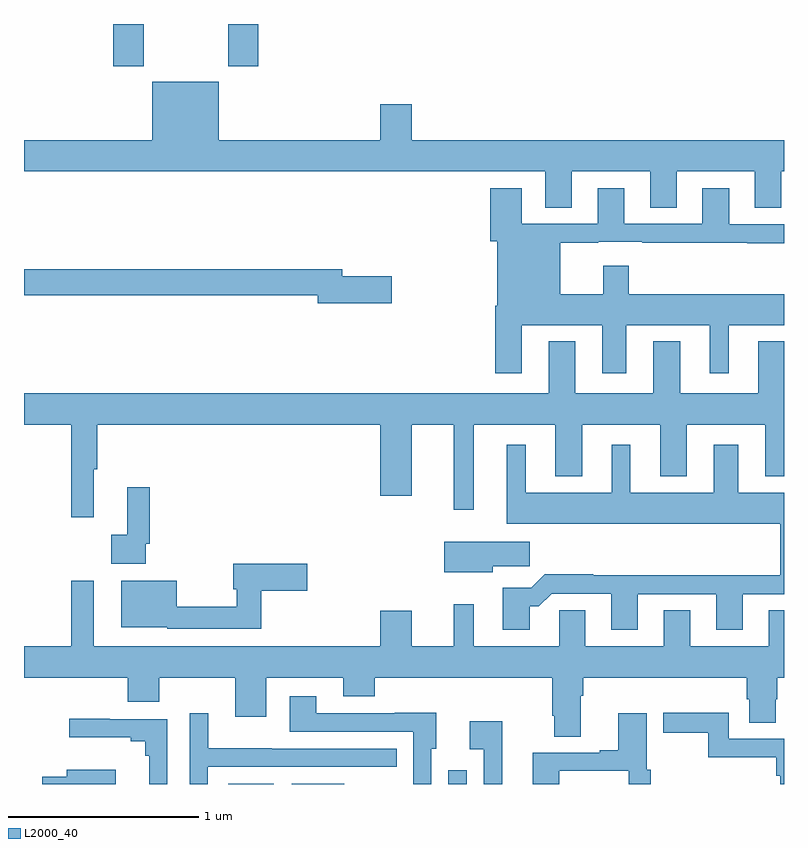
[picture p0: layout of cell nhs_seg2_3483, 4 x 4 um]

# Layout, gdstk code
import gdstk
lib = gdstk.Library(unit=1e-6, precision=1e-09)
def R(c, l, rs):  # rectangles x0, y0, x1, y1
    for r in rs: c.add(gdstk.rectangle(r[:2], r[2:], *l))
def P(c, l, *ps):  # polygons
    for p in ps: c.add(gdstk.Polygon(p, *l))
L2000_40 = (2000, 40)

nhs_seg2_3483 = lib.new_cell('nhs_seg2_3483')
R(nhs_seg2_3483, L2000_40, [(296.075,589.8,296.314,589.801), (296.408,589.8,296.686,589.801), (297.234,589.8,297.33,589.873), (295.469,593.577,295.629,593.8), (296.074,593.577,296.234,593.8)])
P(nhs_seg2_3483, L2000_40, [(297.883,593.024),(298.295,593.024),(298.295,592.834),(298.435,592.834),(298.435,593.024),(298.847,593.024),(298.847,592.834),(298.986,592.834),(298.986,593.024),(299,593.024),(299,593.188),(297.04,593.188),(297.04,593.377),(296.876,593.377),(296.876,593.188),(296.026,593.188),(296.026,593.497),(295.676,593.497),(295.676,593.188),(295,593.188),(295,593.024),(297.743,593.024),(297.743,592.834),(297.883,592.834)],
  [(297.619,592.214),(298.043,592.214),(298.043,591.963),(298.171,591.963),(298.171,592.214),(298.61,592.214),(298.61,591.963),(298.708,591.963),(298.708,592.214),(299,592.214),(299,592.378),(298.184,592.378),(298.184,592.528),(298.049,592.528),(298.049,592.378),(297.823,592.378),(297.823,592.648),(298.023,592.648),(298.023,592.653),(298.255,592.653),(298.255,592.648),(298.807,592.648),(298.807,592.646),(299,592.646),(299,592.746),(298.711,592.746),(298.711,592.936),(298.571,592.936),(298.571,592.749),(298.159,592.749),(298.159,592.936),(298.019,592.936),(298.019,592.749),(297.619,592.749),(297.619,592.936),(297.455,592.936),(297.455,592.656),(297.491,592.656),(297.491,592.318),(297.479,592.318),(297.479,591.963),(297.619,591.963)],
  [(296.935,592.472),(296.674,592.472),(296.674,592.508),(295,592.508),(295,592.372),(296.546,592.372),(296.546,592.33),(296.935,592.33)],
  [(295.367,591.456),(295.385,591.456),(295.385,591.692),(296.876,591.692),(296.876,591.318),(297.04,591.318),(297.04,591.692),(297.263,591.692),(297.263,591.243),(297.367,591.243),(297.367,591.692),(297.797,591.692),(297.797,591.419),(297.937,591.419),(297.937,591.692),(298.349,591.692),(298.349,591.419),(298.489,591.419),(298.489,591.692),(298.901,591.692),(298.901,591.419),(299,591.419),(299,592.129),(298.865,592.129),(298.865,591.856),(298.453,591.856),(298.453,592.129),(298.313,592.129),(298.313,591.856),(297.901,591.856),(297.901,592.129),(297.761,592.129),(297.761,591.856),(295,591.856),(295,591.692),(295.249,591.692),(295.249,591.204),(295.367,591.204)],
  [(297.661,590.735),(297.71,590.735),(297.777,590.802),(298.091,590.802),(298.091,590.613),(298.231,590.613),(298.231,590.799),(298.643,590.799),(298.643,590.613),(298.783,590.613),(298.783,590.799),(299,590.799),(299,591.334),(298.759,591.334),(298.759,591.586),(298.631,591.586),(298.631,591.334),(298.192,591.334),(298.192,591.586),(298.094,591.586),(298.094,591.334),(297.64,591.334),(297.64,591.586),(297.542,591.586),(297.542,591.17),(298.979,591.17),(298.979,590.9),(297.995,590.9),(297.995,590.903),(297.74,590.903),(297.67,590.833),(297.521,590.833),(297.521,590.613),(297.661,590.613)],
  [(295.641,591.064),(295.661,591.064),(295.661,591.361),(295.544,591.361),(295.544,591.113),(295.458,591.113),(295.458,590.96),(295.641,590.96)],
  [(297.466,590.947),(297.661,590.947),(297.661,591.076),(297.212,591.076),(297.212,590.915),(297.466,590.915)],
  [(296.249,590.818),(296.491,590.818),(296.491,590.96),(296.102,590.96),(296.102,590.825),(296.121,590.825),(296.121,590.732),(295.804,590.732),(295.804,590.869),(295.511,590.869),(295.511,590.624),(295.755,590.624),(295.755,590.616),(296.249,590.616)],
  [(298.805,590.247),(298.817,590.247),(298.817,590.122),(298.957,590.122),(298.957,590.247),(298.965,590.247),(298.965,590.36),(299,590.36),(299,590.714),(298.919,590.714),(298.919,590.524),(298.507,590.524),(298.507,590.714),(298.367,590.714),(298.367,590.524),(297.955,590.524),(297.955,590.714),(297.816,590.714),(297.816,590.524),(297.367,590.524),(297.367,590.746),(297.263,590.746),(297.263,590.524),(297.04,590.524),(297.04,590.713),(296.876,590.713),(296.876,590.524),(295.366,590.524),(295.366,590.869),(295.249,590.869),(295.249,590.524),(295,590.524),(295,590.36),(295.547,590.36),(295.547,590.232),(295.711,590.232),(295.711,590.36),(296.111,590.36),(296.111,590.154),(296.275,590.154),(296.275,590.36),(296.681,590.36),(296.681,590.261),(296.845,590.261),(296.845,590.36),(297.779,590.36),(297.779,590.158),(297.791,590.158),(297.791,590.05),(297.931,590.05),(297.931,590.264),(297.944,590.264),(297.944,590.36),(298.805,590.36)],
  [(297.144,589.986),(297.169,589.986),(297.169,590.174),(296.951,590.174),(296.951,590.172),(296.539,590.172),(296.539,590.263),(296.399,590.263),(296.399,590.076),(297.048,590.076),(297.048,589.8),(297.144,589.8)],
  [(299,590.037),(298.71,590.037),(298.71,590.174),(298.365,590.174),(298.365,590.071),(298.602,590.071),(298.602,589.94),(298.96,589.94),(298.96,589.844),(298.98,589.844),(298.98,589.8),(299,589.8)],
  [(295.968,589.89),(296.963,589.89),(296.963,589.986),(296.303,589.986),(296.303,589.987),(295.969,589.987),(295.969,590.173),(295.872,590.173),(295.872,589.8),(295.968,589.8)],
  [(297.817,589.869),(298.182,589.869),(298.182,589.8),(298.298,589.8),(298.298,589.876),(298.278,589.876),(298.278,590.173),(298.127,590.173),(298.127,589.978),(298.031,589.978),(298.031,589.965),(297.677,589.965),(297.677,589.8),(297.817,589.8)],
  [(295.755,590.142),(295.451,590.142),(295.451,590.144),(295.239,590.144),(295.239,590.045),(295.562,590.045),(295.562,590.026),(295.639,590.026),(295.639,589.949),(295.658,589.949),(295.658,589.8),(295.755,589.8)],
  [(297.517,590.131),(297.345,590.131),(297.345,589.982),(297.42,589.982),(297.42,589.8),(297.517,589.8)],
  [(295.483,589.876),(295.226,589.876),(295.226,589.837),(295.095,589.837),(295.095,589.8),(295.483,589.8)])

lib.write_gds('nhs_seg2_3483.gds')
